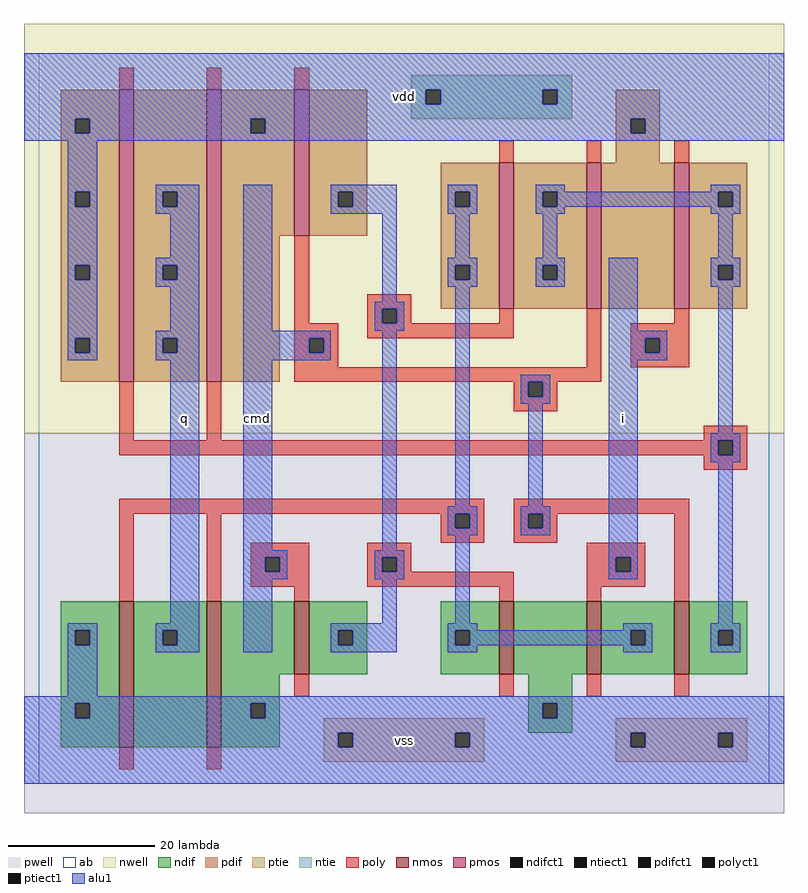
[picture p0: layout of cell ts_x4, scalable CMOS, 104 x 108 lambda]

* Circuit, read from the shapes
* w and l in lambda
.subckt ts_x4 cmd i q vdd vss
M1 q n1 vss vss nfet w=20 l=2 m=2
M2 n2 cmd vss vss nfet w=10 l=2
M3 vss n2 n1 vss nfet w=10 l=2
M4 n1 i vss vss nfet w=10 l=2
M5 n3 cmd n1 vss nfet w=10 l=2
M6 q n3 vdd vdd pfet w=40 l=2 m=2
M7 n2 cmd vdd vdd pfet w=20 l=2
M8 n3 n2 n1 vdd pfet w=20 l=2
M9 vdd cmd n3 vdd pfet w=20 l=2
M10 n3 i vdd vdd pfet w=20 l=2
.ends

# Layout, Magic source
magic
tech scmos
<< ab >>
rect 0 0 100 100
<< nwell >>
rect -2 48 102 104
<< pwell >>
rect -2 -4 102 48
<< poly >>
rect 11 95 13 98
rect 23 95 25 98
rect 35 95 37 98
rect 63 85 65 88
rect 75 85 77 88
rect 87 85 89 88
rect 35 63 37 75
rect 45 65 51 67
rect 45 63 47 65
rect 49 63 51 65
rect 63 63 65 65
rect 35 61 41 63
rect 45 61 65 63
rect 35 59 37 61
rect 39 59 41 61
rect 35 57 41 59
rect 75 57 77 65
rect 87 63 89 65
rect 81 61 89 63
rect 81 59 83 61
rect 85 59 89 61
rect 81 57 89 59
rect 35 55 77 57
rect 11 47 13 55
rect 23 47 25 55
rect 65 53 67 55
rect 69 53 71 55
rect 65 51 71 53
rect 91 47 97 49
rect 11 45 93 47
rect 95 45 97 47
rect 91 43 97 45
rect 11 37 61 39
rect 11 25 13 37
rect 23 25 25 37
rect 55 35 57 37
rect 59 35 61 37
rect 55 33 61 35
rect 65 37 89 39
rect 65 35 67 37
rect 69 35 71 37
rect 65 33 71 35
rect 29 31 37 33
rect 29 29 31 31
rect 33 29 37 31
rect 29 27 37 29
rect 45 31 51 33
rect 45 29 47 31
rect 49 29 51 31
rect 75 31 83 33
rect 75 29 79 31
rect 81 29 83 31
rect 45 27 65 29
rect 35 25 37 27
rect 63 25 65 27
rect 75 27 83 29
rect 75 25 77 27
rect 87 25 89 37
rect 35 12 37 15
rect 63 12 65 15
rect 75 12 77 15
rect 87 12 89 15
rect 11 2 13 5
rect 23 2 25 5
<< ndif >>
rect 3 21 11 25
rect 3 19 5 21
rect 7 19 11 21
rect 3 11 11 19
rect 3 9 5 11
rect 7 9 11 11
rect 3 5 11 9
rect 13 21 23 25
rect 13 19 17 21
rect 19 19 23 21
rect 13 5 23 19
rect 25 15 35 25
rect 37 21 45 25
rect 37 19 41 21
rect 43 19 45 21
rect 37 15 45 19
rect 55 21 63 25
rect 55 19 57 21
rect 59 19 63 21
rect 55 15 63 19
rect 65 15 75 25
rect 77 21 87 25
rect 77 19 81 21
rect 83 19 87 21
rect 77 15 87 19
rect 89 21 97 25
rect 89 19 93 21
rect 95 19 97 21
rect 89 15 97 19
rect 25 11 33 15
rect 25 9 29 11
rect 31 9 33 11
rect 67 11 73 15
rect 67 9 69 11
rect 71 9 73 11
rect 25 5 33 9
rect 67 7 73 9
<< pdif >>
rect 3 91 11 95
rect 3 89 5 91
rect 7 89 11 91
rect 3 81 11 89
rect 3 79 5 81
rect 7 79 11 81
rect 3 71 11 79
rect 3 69 5 71
rect 7 69 11 71
rect 3 61 11 69
rect 3 59 5 61
rect 7 59 11 61
rect 3 55 11 59
rect 13 81 23 95
rect 13 79 17 81
rect 19 79 23 81
rect 13 71 23 79
rect 13 69 17 71
rect 19 69 23 71
rect 13 61 23 69
rect 13 59 17 61
rect 19 59 23 61
rect 13 55 23 59
rect 25 91 35 95
rect 25 89 29 91
rect 31 89 35 91
rect 25 75 35 89
rect 37 81 45 95
rect 79 91 85 95
rect 79 89 81 91
rect 83 89 85 91
rect 79 85 85 89
rect 37 79 41 81
rect 43 79 45 81
rect 37 75 45 79
rect 55 81 63 85
rect 55 79 57 81
rect 59 79 63 81
rect 25 55 33 75
rect 55 71 63 79
rect 55 69 57 71
rect 59 69 63 71
rect 55 65 63 69
rect 65 81 75 85
rect 65 79 69 81
rect 71 79 75 81
rect 65 71 75 79
rect 65 69 69 71
rect 71 69 75 71
rect 65 65 75 69
rect 77 65 87 85
rect 89 81 97 85
rect 89 79 93 81
rect 95 79 97 81
rect 89 71 97 79
rect 89 69 93 71
rect 95 69 97 71
rect 89 65 97 69
<< alu1 >>
rect -2 95 102 100
rect -2 93 53 95
rect 55 93 69 95
rect 71 93 102 95
rect -2 91 102 93
rect -2 89 5 91
rect 7 89 29 91
rect 31 89 81 91
rect 83 89 102 91
rect -2 88 102 89
rect 4 81 8 88
rect 4 79 5 81
rect 7 79 8 81
rect 4 71 8 79
rect 16 81 22 82
rect 16 79 17 81
rect 19 79 22 81
rect 16 78 22 79
rect 18 72 22 78
rect 4 69 5 71
rect 7 69 8 71
rect 4 61 8 69
rect 16 71 22 72
rect 16 69 17 71
rect 19 69 22 71
rect 16 68 22 69
rect 18 62 22 68
rect 4 59 5 61
rect 7 59 8 61
rect 4 58 8 59
rect 16 61 22 62
rect 16 59 17 61
rect 19 59 22 61
rect 16 58 22 59
rect 18 22 22 58
rect 4 21 8 22
rect 4 19 5 21
rect 7 19 8 21
rect 4 12 8 19
rect 16 21 22 22
rect 16 19 17 21
rect 19 19 22 21
rect 16 18 22 19
rect 28 62 32 82
rect 40 81 49 82
rect 40 79 41 81
rect 43 79 49 81
rect 40 78 49 79
rect 56 81 60 82
rect 56 79 57 81
rect 59 79 60 81
rect 56 78 60 79
rect 68 81 72 82
rect 92 81 96 82
rect 68 79 69 81
rect 71 79 93 81
rect 95 79 96 81
rect 68 78 72 79
rect 92 78 96 79
rect 47 66 49 78
rect 57 72 59 78
rect 69 72 71 78
rect 93 72 95 78
rect 56 71 60 72
rect 56 69 57 71
rect 59 69 60 71
rect 56 68 60 69
rect 68 71 72 72
rect 68 69 69 71
rect 71 69 72 71
rect 68 68 72 69
rect 46 65 50 66
rect 46 63 47 65
rect 49 63 50 65
rect 46 62 50 63
rect 28 61 40 62
rect 28 59 37 61
rect 39 59 40 61
rect 28 58 40 59
rect 28 32 32 58
rect 47 32 49 62
rect 57 38 59 68
rect 78 62 82 72
rect 92 71 96 72
rect 92 69 93 71
rect 95 69 96 71
rect 92 68 96 69
rect 78 61 86 62
rect 78 59 83 61
rect 85 59 86 61
rect 78 58 86 59
rect 66 55 70 56
rect 66 53 67 55
rect 69 53 70 55
rect 66 52 70 53
rect 67 38 69 52
rect 56 37 60 38
rect 56 35 57 37
rect 59 35 60 37
rect 56 34 60 35
rect 66 37 70 38
rect 66 35 67 37
rect 69 35 70 37
rect 66 34 70 35
rect 28 31 34 32
rect 28 29 31 31
rect 33 29 34 31
rect 28 28 34 29
rect 46 31 50 32
rect 46 29 47 31
rect 49 29 50 31
rect 46 28 50 29
rect 28 18 32 28
rect 47 22 49 28
rect 57 22 59 34
rect 78 31 82 58
rect 93 48 95 68
rect 92 47 96 48
rect 92 45 93 47
rect 95 45 96 47
rect 92 44 96 45
rect 78 29 79 31
rect 81 29 82 31
rect 78 28 82 29
rect 93 22 95 44
rect 40 21 49 22
rect 40 19 41 21
rect 43 19 49 21
rect 40 18 49 19
rect 56 21 60 22
rect 80 21 84 22
rect 56 19 57 21
rect 59 19 81 21
rect 83 19 84 21
rect 56 18 60 19
rect 80 18 84 19
rect 92 21 96 22
rect 92 19 93 21
rect 95 19 96 21
rect 92 18 96 19
rect -2 11 102 12
rect -2 9 5 11
rect 7 9 29 11
rect 31 9 69 11
rect 71 9 102 11
rect -2 7 102 9
rect -2 5 41 7
rect 43 5 57 7
rect 59 5 81 7
rect 83 5 93 7
rect 95 5 102 7
rect -2 0 102 5
<< ptie >>
rect 39 7 61 9
rect 79 7 97 9
rect 39 5 41 7
rect 43 5 57 7
rect 59 5 61 7
rect 39 3 61 5
rect 79 5 81 7
rect 83 5 93 7
rect 95 5 97 7
rect 79 3 97 5
<< ntie >>
rect 51 95 73 97
rect 51 93 53 95
rect 55 93 69 95
rect 71 93 73 95
rect 51 91 73 93
<< nmos >>
rect 11 5 13 25
rect 23 5 25 25
rect 35 15 37 25
rect 63 15 65 25
rect 75 15 77 25
rect 87 15 89 25
<< pmos >>
rect 11 55 13 95
rect 23 55 25 95
rect 35 75 37 95
rect 63 65 65 85
rect 75 65 77 85
rect 87 65 89 85
<< polyct1 >>
rect 47 63 49 65
rect 37 59 39 61
rect 83 59 85 61
rect 67 53 69 55
rect 93 45 95 47
rect 57 35 59 37
rect 67 35 69 37
rect 31 29 33 31
rect 47 29 49 31
rect 79 29 81 31
<< ndifct1 >>
rect 5 19 7 21
rect 5 9 7 11
rect 17 19 19 21
rect 41 19 43 21
rect 57 19 59 21
rect 81 19 83 21
rect 93 19 95 21
rect 29 9 31 11
rect 69 9 71 11
<< ntiect1 >>
rect 53 93 55 95
rect 69 93 71 95
<< ptiect1 >>
rect 41 5 43 7
rect 57 5 59 7
rect 81 5 83 7
rect 93 5 95 7
<< pdifct1 >>
rect 5 89 7 91
rect 5 79 7 81
rect 5 69 7 71
rect 5 59 7 61
rect 17 79 19 81
rect 17 69 19 71
rect 17 59 19 61
rect 29 89 31 91
rect 81 89 83 91
rect 41 79 43 81
rect 57 79 59 81
rect 57 69 59 71
rect 69 79 71 81
rect 69 69 71 71
rect 93 79 95 81
rect 93 69 95 71
<< labels >>
rlabel alu1 20 50 20 50 6 q
rlabel alu1 30 50 30 50 6 cmd
rlabel alu1 50 6 50 6 6 vss
rlabel alu1 50 94 50 94 6 vdd
rlabel alu1 80 50 80 50 6 i
<< end >>
